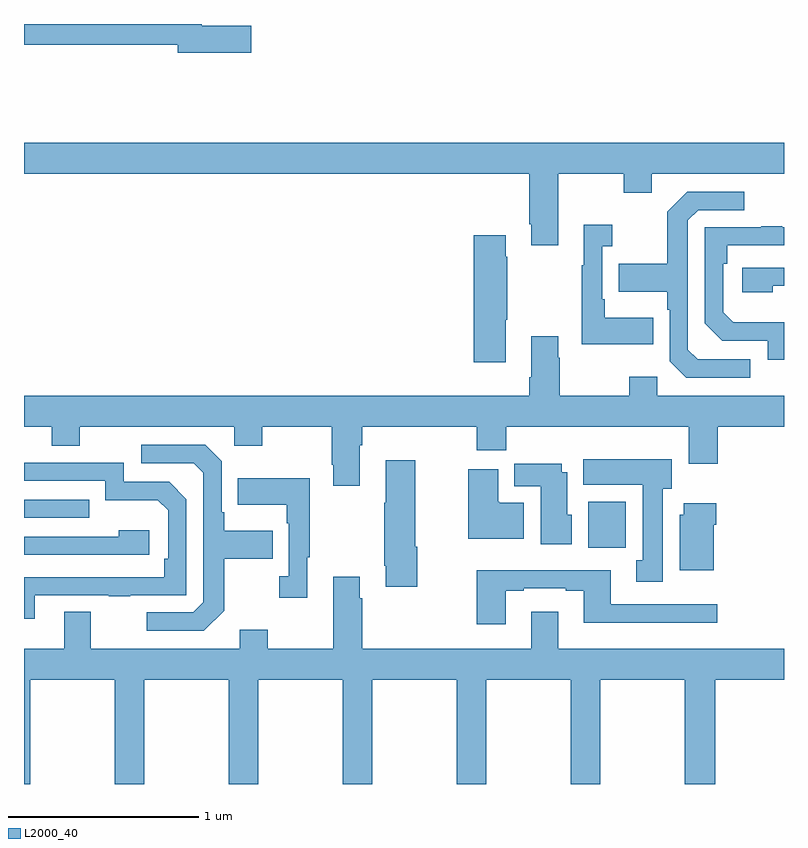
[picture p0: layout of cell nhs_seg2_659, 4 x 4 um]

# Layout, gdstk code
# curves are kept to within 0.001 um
import gdstk
lib = gdstk.Library(unit=1e-6, precision=1e-09)
def R(c, l, rs):  # rectangles x0, y0, x1, y1
    for r in rs: c.add(gdstk.rectangle(r[:2], r[2:], *l))
def P(c, l, *ps):  # polygons
    for p in ps: c.add(gdstk.Polygon(p, *l))
L2000_40 = (2000, 40)

nhs_seg2_659 = lib.new_cell('nhs_seg2_659')
R(nhs_seg2_659, L2000_40, [(147.971,603.044,148.168,603.286), (145,603.201,145.343,603.297)])
P(nhs_seg2_659, L2000_40, [(146.197,605.792),(145.936,605.792),(145.936,605.8),(145,605.8),(145,605.692),(145.808,605.692),(145.808,605.65),(146.197,605.65)],
  [(147.811,605.012),(148.156,605.012),(148.156,604.913),(148.303,604.913),(148.303,605.012),(149,605.012),(149,605.176),(145,605.176),(145,605.012),(147.659,605.012),(147.659,604.747),(147.671,604.747),(147.671,604.635),(147.811,604.635)],
  [(148.822,604.035),(148.545,604.035),(148.494,604.086),(148.494,604.767),(148.548,604.821),(148.792,604.821),(148.792,604.917),(148.491,604.917),(148.386,604.811),(148.386,604.539),(148.129,604.539),(148.129,604.391),(148.386,604.391),(148.386,604.295),(148.398,604.295),(148.398,604.026),(148.485,603.939),(148.822,603.939)],
  [(148.313,604.255),(148.057,604.255),(148.057,604.351),(148.044,604.351),(148.044,604.631),(148.096,604.631),(148.096,604.744),(147.947,604.744),(147.947,604.531),(147.936,604.531),(147.936,604.115),(148.313,604.115)],
  [(149,604.231),(148.733,604.231),(148.68,604.284),(148.68,604.538),(148.7,604.538),(148.7,604.635),(149,604.635),(149,604.731),(148.991,604.731),(148.991,604.736),(148.879,604.736),(148.879,604.731),(148.584,604.731),(148.584,604.224),(148.674,604.134),(148.914,604.134),(148.914,604.032),(149,604.032)],
  [(147.535,604.243),(147.543,604.243),(147.543,604.574),(147.535,604.574),(147.535,604.687),(147.368,604.687),(147.368,604.02),(147.535,604.02)],
  [(148.94,604.422),(149,604.422),(149,604.518),(148.779,604.518),(148.779,604.388),(148.94,604.388)],
  [(146.767,603.584),(146.78,603.584),(146.78,603.68),(147.383,603.68),(147.383,603.556),(147.539,603.556),(147.539,603.68),(148.499,603.68),(148.499,603.486),(148.652,603.486),(148.652,603.68),(149,603.68),(149,603.844),(148.332,603.844),(148.332,603.943),(148.186,603.943),(148.186,603.844),(147.819,603.844),(147.819,604.043),(147.811,604.043),(147.811,604.156),(147.671,604.156),(147.671,603.94),(147.659,603.94),(147.659,603.844),(145,603.844),(145,603.68),(145.145,603.68),(145.145,603.581),(145.293,603.581),(145.293,603.68),(146.106,603.68),(146.106,603.581),(146.253,603.581),(146.253,603.68),(146.62,603.68),(146.62,603.481),(146.627,603.481),(146.627,603.369),(146.767,603.369)],
  [(146.053,602.713),(146.053,602.986),(146.309,602.986),(146.309,603.133),(146.053,603.133),(146.053,603.229),(146.04,603.229),(146.04,603.498),(145.953,603.585),(145.617,603.585),(145.617,603.489),(145.893,603.489),(145.944,603.438),(145.944,602.757),(145.89,602.703),(145.647,602.703),(145.647,602.607),(145.947,602.607)],
  [(148.363,603.354),(148.408,603.354),(148.408,603.508),(147.944,603.508),(147.944,603.374),(148.256,603.374),(148.256,602.978),(148.223,602.978),(148.223,602.865),(148.363,602.865)],
  [(147.071,603.05),(147.058,603.05),(147.058,603.505),(146.903,603.505),(146.903,603.281),(146.896,603.281),(146.896,602.95),(146.903,602.95),(146.903,602.838),(147.071,602.838)],
  [(145.057,602.793),(145.447,602.793),(145.447,602.788),(145.559,602.788),(145.559,602.793),(145.854,602.793),(145.854,603.3),(145.764,603.39),(145.524,603.39),(145.524,603.492),(145,603.492),(145,603.396),(145.428,603.396),(145.428,603.293),(145.705,603.293),(145.758,603.24),(145.758,602.986),(145.738,602.986),(145.738,602.889),(145,602.888),(145,602.67),(145.057,602.67)],
  [(147.883,603.216),(147.859,603.216),(147.859,603.442),(147.829,603.442),(147.829,603.486),(147.581,603.486),(147.581,603.368),(147.719,603.368),(147.719,603.062),(147.883,603.062)],
  [(147.631,603.28),(147.502,603.28),(147.502,603.286),(147.496,603.286),(147.496,603.457),(147.338,603.457),(147.338,603.092),(147.631,603.092)],
  [(146.491,602.993),(146.503,602.993),(146.503,603.409),(146.125,603.409),(146.125,603.269),(146.382,603.269),(146.382,603.173),(146.394,603.173),(146.394,602.894),(146.343,602.894),(146.343,602.781),(146.491,602.781)],
  [(148.63,603.164),(148.643,603.164),(148.643,603.277),(148.472,603.277),(148.472,603.216),(148.451,603.216),(148.451,602.924),(148.63,602.924)],
  [(145.66,603.136),(145.499,603.136),(145.499,603.102),(145,603.102),(145,603.006),(145.66,603.006)],
  [(147.535,602.817),(147.631,602.817),(147.631,602.829),(147.851,602.829),(147.851,602.817),(147.947,602.817),(147.947,602.648),(148.648,602.648),(148.648,602.745),(148.087,602.745),(148.087,602.926),(147.383,602.926),(147.383,602.64),(147.535,602.64)],
  [(145.032,602.348),(145.477,602.348),(145.477,601.8),(145.632,601.8),(145.632,602.348),(146.077,602.348),(146.077,601.8),(146.232,601.8),(146.232,602.348),(146.677,602.348),(146.677,601.8),(146.832,601.8),(146.832,602.348),(147.277,602.348),(147.277,601.8),(147.432,601.8),(147.432,602.348),(147.877,602.348),(147.877,601.8),(148.032,601.8),(148.032,602.348),(148.477,602.348),(148.477,601.8),(148.637,601.8),(148.637,602.348),(149,602.348),(149,602.512),(147.811,602.512),(147.811,602.707),(147.671,602.707),(147.671,602.512),(146.78,602.512),(146.78,602.777),(146.767,602.777),(146.767,602.89),(146.627,602.89),(146.627,602.512),(146.283,602.512),(146.283,602.611),(146.135,602.611),(146.135,602.512),(145.351,602.512),(145.351,602.707),(145.211,602.707),(145.211,602.512),(145,602.512),(145,601.8),(145.032,601.8)])

lib.write_gds('nhs_seg2_659.gds')
